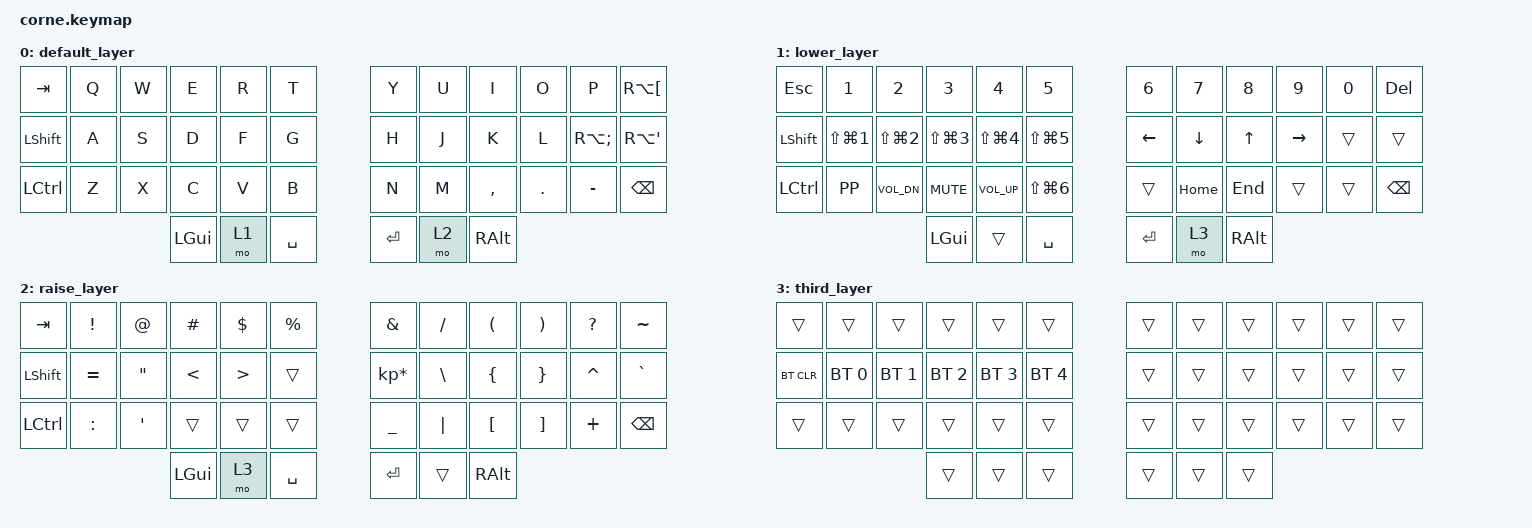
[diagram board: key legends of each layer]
/*
 * Copyright (c) 2020 The ZMK Contributors
 *
 * SPDX-License-Identifier: MIT
 */

#include <behaviors.dtsi>
#include <dt-bindings/zmk/keys.h>
#include <dt-bindings/zmk/bt.h>

#define THIRD 3

/ {
        keymap {
                compatible = "zmk,keymap";

                default_layer {
// -----------------------------------------------------------------------------------------
// |  TAB |  Q  |  W  |  E  |  R  |  T  |   |  Y  |  U   |  I  |  O  |  P  | Å |
// | SHFT |  A  |  S  |  D  |  F  |  G  |   |  H  |  J   |  K  |  L  |  Ö  |  Ä  |
// | CTRL |  Z  |  X  |  C  |  V  |  B  |   |  N  |  M   |  ,  |  .  |  -  | BSPC  |
//                    | GUI | LWR | SPC |   | ENT | RSE  | ALT |
                        bindings = <
//   &kp TAB   &kp Q &kp W &kp E &kp R &kp T   &kp Y &kp U  &kp I     &kp O   &kp P    &kp LBKT
//   &kp LSHFT &kp A &kp S &kp D &kp F &kp G   &kp H &kp J  &kp K     &kp L   &kp SEMI &kp SQT
//   &kp LCTRL &kp Z &kp X &kp C &kp V &kp B   &kp N &kp M  &kp COMMA &kp DOT &kp FSLH &kp BSPC
//                  &kp LGUI &mo 1 &kp SPACE   &kp RET &mo 2 &kp RALT
   &kp TAB   &kp Q &kp W &kp E &kp R &kp T   &kp Y &kp U  &kp I     &kp O   &kp P    &kp RA(LBKT)
   &kp LSHFT &kp A &kp S &kp D &kp F &kp G   &kp H &kp J  &kp K     &kp L   &kp RA(SEMI) &kp RA(SQT)
   &kp LCTRL &kp Z &kp X &kp C &kp V &kp B   &kp N &kp M  &kp COMMA &kp DOT &kp MINUS &kp BSPC
                  &kp LGUI &mo 1 &kp SPACE   &kp RET &mo 2 &kp RALT
                        >;
                };
                lower_layer {
// -----------------------------------------------------------------------------------------
// |  ESC |  1  |  2  |  3  |  4  |  5  |   |  6  |  7  |  8  |  9  |  0  |  DEL  |
// | SHFT | Desk1 | Desk2 | Desk3 | Desk4 | Desk5 |   | LFT | DWN |  UP | RGT |     |      |
// | CTRL | Pause | Vol- | Mute | Vol+ |     | Desk6 |  | HOME | END |     |     | BSPC |
//                    | GUI |     | SPC |   | ENT |THIRD| ALT |
                        bindings = <
   &kp ESC    &kp N1       &kp N2       &kp N3       &kp N4       &kp N5         &kp N6   &kp N7   &kp N8 &kp N9    &kp N0 &kp DEL
   &kp LSHFT &kp LS(LG(N1)) &kp LS(LG(N2)) &kp LS(LG(N3)) &kp LS(LG(N4)) &kp LS(LG(N5))   &kp LEFT &kp DOWN &kp UP &kp RIGHT &trans &trans
   &kp LCTRL &kp K_PP &kp K_VOL_DN &kp K_MUTE &kp K_VOL_UP     &kp LS(LG(N6))  &trans            &kp HOME   &kp END &trans    &trans &kp BSPC
                          	        &kp LGUI     &trans       &kp SPACE      &kp RET  &mo 3 &kp RALT
                        >;
                };

                raise_layer {
// -----------------------------------------------------------------------------------------
// |  TAB |  !  |  @  |  #  |  $  |  %  |   |  &  |  /  |  (  |  )  |  ?  | ~ |
// | CTRL |  =  |  @  |  <  |  >  |     |   |  *  |  \  |  {  |  }  |  ^  |  `   |
// | SHFT |  :  |     |     |     |     |   |  _  | "|" |  [  |  ]  | | BSPC |
//                    | GUI |THIRD| SPC |   | ENT |     | ALT |
                        bindings = <
//   &kp  TAB  &kp EXCL &kp AT &kp HASH &kp DLLR &kp PRCNT         &kp CARET &kp AMPS  &kp RS(N8) &kp RS(N9) &kp RPAR &kp TILDE
//   &kp LSHFT &kp RPAR &kp LS(DOT) &kp LS(COMMA)  &kp GRAVE &trans      &kp MINUS &kp RA(MINUS) &kp RA(N7)  &kp RA(N0) &kp BSLH &kp GRAVE
//   &kp LCTRL &trans   &trans &trans   &trans   &trans      &kp UNDER &kp LESS_THAN  &kp RA(N8)  &kp RA(N9) &kp PIPE &kp BSPC

   &kp  TAB  &kp EXCL &kp AT &kp HASH &kp DLLR &kp PRCNT    &kp AMPS        &kp FSLH &kp LPAR &kp RPAR &kp QUESTION &kp TILDE
   &kp LSHFT &kp EQUAL &kp DQT &kp LT &kp GT &trans     &kp KP_MULTIPLY &kp BSLH &kp LBRC &kp RBRC &kp CARET    &kp GRAVE
   &kp LCTRL &kp COLON &kp SQT &trans   &trans   &trans       &kp UNDER       &kp PIPE &kp LBKT &kp RBKT &kp PLUS     &kp BSPC
                    	     &kp LGUI &mo 3 &kp SPACE         &kp RET   &trans   &kp RALT
                        >;
                };

                third_layer {
// -----------------------------------------------------------------------------------------
// |        |       |      |      |      |      |   |      |      |      |      |      |      |
// | BT_CLR |  BT1  |  BT2 |  BT3 |  BT4 |  BT5 |   |      |      |      |      |      |      |
// |        |       |      |      |      |      |   |      |      |      |      |      |      |
//                         |      |      |      |   |      |      |      |
                        bindings = <
     &trans     &trans       &trans       &trans       &trans       &trans       &trans &trans &trans &trans &trans &trans
     &bt BT_CLR &bt BT_SEL 0 &bt BT_SEL 1 &bt BT_SEL 2 &bt BT_SEL 3 &bt BT_SEL 4 &trans &trans &trans &trans &trans &trans
     &trans     &trans       &trans       &trans       &trans       &trans       &trans &trans &trans &trans &trans &trans
                          	              &trans       &trans       &trans       &trans &trans &trans
                        >;
                };
        };
};
